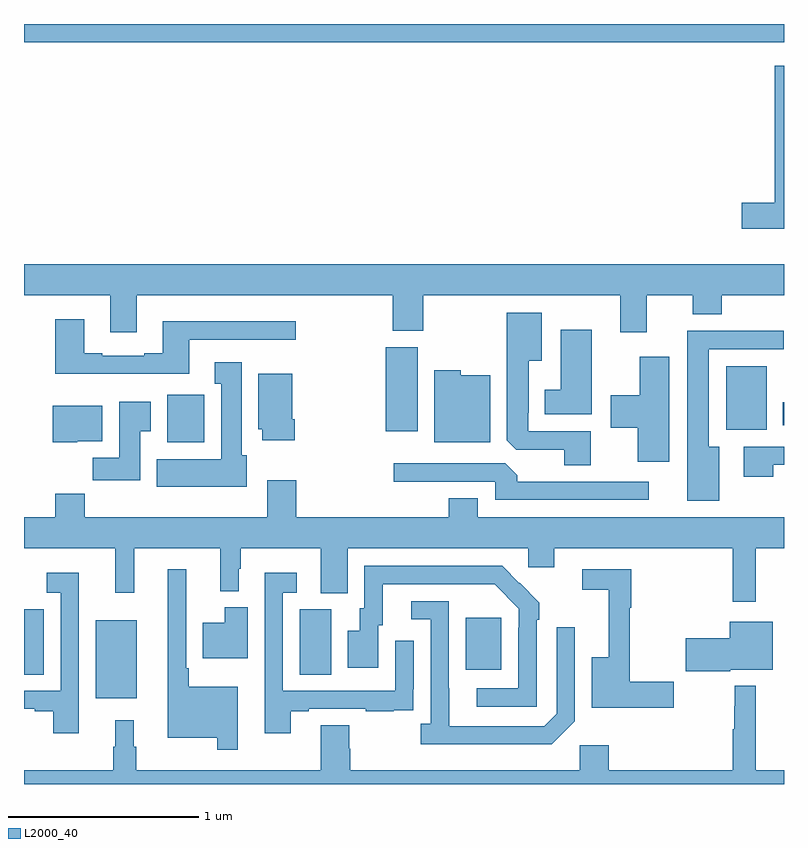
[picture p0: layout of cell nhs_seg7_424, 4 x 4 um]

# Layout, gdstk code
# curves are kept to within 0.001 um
import gdstk
lib = gdstk.Library(unit=1e-6, precision=1e-09)
def R(c, l, rs):  # rectangles x0, y0, x1, y1
    for r in rs: c.add(gdstk.rectangle(r[:2], r[2:], *l))
def P(c, l, *ps):  # polygons
    for p in ps: c.add(gdstk.Polygon(p, *l))
L2000_40 = (2000, 40)

nhs_seg7_424 = lib.new_cell('nhs_seg7_424')
R(nhs_seg7_424, L2000_40, [(143.378,1042.451,143.593,1042.861), (143,1042.576,143.104,1042.92), (144.452,1042.576,144.616,1042.92), (145.325,1042.601,145.513,1042.876), (143.753,1043.798,143.949,1044.049), (144.905,1043.856,145.072,1044.3), (146.696,1043.864,146.908,1044.199), (146.993,1043.888,147,1044.01), (143,1045.904,147,1046)])
P(nhs_seg7_424, L2000_40, [(147,1045.78),(146.95,1045.78),(146.95,1045.058),(146.778,1045.058),(146.778,1044.923),(147,1044.923)],
  [(143,1044.572),(143.453,1044.572),(143.453,1044.378),(143.593,1044.378),(143.593,1044.572),(144.941,1044.572),(144.941,1044.385),(145.101,1044.385),(145.101,1044.572),(146.138,1044.572),(146.138,1044.378),(146.278,1044.378),(146.278,1044.572),(146.519,1044.572),(146.519,1044.473),(146.672,1044.473),(146.672,1044.572),(147,1044.572),(147,1044.736),(143,1044.736)],
  [(145.984,1043.856),(145.653,1043.856),(145.653,1043.953),(145.657,1043.953),(145.657,1044.227),(145.726,1044.227),(145.726,1044.481),(145.541,1044.481),(145.541,1043.809),(145.59,1043.76),(145.844,1043.76),(145.844,1043.677),(145.984,1043.677)],
  [(143.869,1044.339),(144.43,1044.339),(144.43,1044.436),(143.729,1044.436),(143.729,1044.268),(143.633,1044.268),(143.633,1044.255),(143.413,1044.255),(143.413,1044.268),(143.317,1044.268),(143.317,1044.445),(143.165,1044.445),(143.165,1044.158),(143.869,1044.158)],
  [(145.987,1044.391),(145.826,1044.391),(145.826,1044.076),(145.742,1044.076),(145.742,1043.945),(145.987,1043.945)],
  [(146.659,1043.776),(146.605,1043.776),(146.605,1044.288),(146.998,1044.288),(146.998,1044.386),(146.492,1044.386),(146.492,1043.49),(146.659,1043.49)],
  [(146.395,1044.25),(146.24,1044.25),(146.24,1044.045),(146.088,1044.045),(146.088,1043.876),(146.231,1043.876),(146.231,1043.697),(146.395,1043.697)],
  [(144.172,1043.73),(144.145,1043.73),(144.145,1044.22),(144.005,1044.22),(144.005,1044.107),(144.038,1044.107),(144.038,1043.71),(143.699,1043.71),(143.699,1043.564),(144.172,1043.564)],
  [(145.453,1044.151),(145.299,1044.151),(145.299,1044.178),(145.16,1044.178),(145.16,1043.798),(145.453,1043.798)],
  [(144.425,1043.92),(144.412,1043.92),(144.412,1044.16),(144.233,1044.16),(144.233,1043.868),(144.254,1043.868),(144.254,1043.808),(144.425,1043.808)],
  [(143.611,1043.857),(143.668,1043.857),(143.668,1044.013),(143.501,1044.013),(143.501,1043.716),(143.362,1043.716),(143.362,1043.598),(143.611,1043.598)],
  [(143.28,1043.804),(143.413,1043.804),(143.413,1043.992),(143.15,1043.992),(143.15,1043.798),(143.28,1043.798)],
  [(146.943,1043.679),(147,1043.679),(147,1043.775),(146.787,1043.775),(146.787,1043.616),(146.943,1043.616)],
  [(146.287,1043.592),(145.595,1043.592),(145.595,1043.626),(145.533,1043.688),(144.945,1043.688),(144.945,1043.592),(145.479,1043.592),(145.479,1043.496),(146.287,1043.496)],
  [(146.851,1043.24),(147,1043.24),(147,1043.404),(145.387,1043.404),(145.387,1043.503),(145.235,1043.503),(145.235,1043.404),(144.434,1043.404),(144.434,1043.599),(144.281,1043.599),(144.281,1043.404),(143.321,1043.404),(143.321,1043.528),(143.165,1043.528),(143.165,1043.404),(143,1043.404),(143,1043.24),(143.48,1043.24),(143.48,1043.007),(143.579,1043.007),(143.579,1043.24),(144.032,1043.24),(144.032,1043.015),(144.13,1043.015),(144.13,1043.133),(144.142,1043.133),(144.142,1043.24),(144.563,1043.24),(144.563,1043.005),(144.703,1043.005),(144.703,1043.24),(145.653,1043.24),(145.653,1043.142),(145.792,1043.142),(145.792,1043.24),(146.73,1043.24),(146.73,1042.959),(146.851,1042.959)],
  [(145.698,1042.865),(145.713,1042.865),(145.713,1042.953),(145.516,1043.148),(144.792,1043.148),(144.792,1042.926),(144.767,1042.926),(144.767,1042.807),(144.704,1042.807),(144.704,1042.611),(144.865,1042.611),(144.865,1042.836),(144.889,1042.836),(144.889,1043.052),(145.477,1043.052),(145.605,1042.923),(145.605,1042.823),(145.602,1042.823),(145.602,1042.503),(145.383,1042.503),(145.383,1042.407),(145.698,1042.407)],
  [(144.126,1042.513),(143.866,1042.513),(143.866,1042.609),(143.853,1042.609),(143.853,1043.131),(143.756,1043.131),(143.756,1042.244),(144.018,1042.244),(144.018,1042.179),(144.126,1042.179)],
  [(146.419,1042.539),(146.188,1042.539),(146.188,1042.927),(146.195,1042.927),(146.195,1043.13),(145.938,1043.13),(145.938,1043.022),(146.078,1043.022),(146.078,1042.666),(145.988,1042.666),(145.988,1042.402),(146.419,1042.402)],
  [(143.289,1043.113),(143.121,1043.113),(143.121,1043.007),(143.193,1043.007),(143.193,1042.491),(143,1042.491),(143,1042.395),(143.057,1042.395),(143.057,1042.382),(143.153,1042.382),(143.153,1042.266),(143.289,1042.266)],
  [(144.403,1042.382),(144.499,1042.382),(144.499,1042.395),(144.799,1042.395),(144.799,1042.382),(144.947,1042.382),(144.947,1042.389),(145.049,1042.389),(145.049,1042.498),(145.05,1042.498),(145.05,1042.753),(144.954,1042.753),(144.954,1042.491),(144.363,1042.491),(144.363,1043.007),(144.436,1043.007),(144.436,1043.113),(144.267,1043.113),(144.267,1042.488),(144.266,1042.488),(144.266,1042.266),(144.403,1042.266)],
  [(145.899,1042.329),(145.899,1042.825),(145.803,1042.825),(145.803,1042.371),(145.737,1042.305),(145.237,1042.305),(145.236,1042.962),(145.038,1042.962),(145.038,1042.866),(145.14,1042.866),(145.14,1042.318),(145.089,1042.318),(145.089,1042.208),(145.778,1042.208)],
  [(144.178,1042.93),(144.056,1042.93),(144.056,1042.849),(143.942,1042.849),(143.942,1042.661),(144.178,1042.661)],
  [(146.718,1042.601),(146.941,1042.601),(146.941,1042.855),(146.714,1042.855),(146.714,1042.767),(146.484,1042.767),(146.484,1042.594),(146.718,1042.594)],
  [(147,1042.072),(146.851,1042.072),(146.851,1042.516),(146.741,1042.516),(146.741,1042.409),(146.737,1042.409),(146.737,1042.289),(146.73,1042.289),(146.73,1042.072),(146.078,1042.072),(146.078,1042.204),(145.926,1042.204),(145.926,1042.072),(144.716,1042.072),(144.716,1042.185),(144.711,1042.185),(144.711,1042.31),(144.563,1042.31),(144.563,1042.072),(143.59,1042.072),(143.59,1042.196),(143.578,1042.196),(143.578,1042.336),(143.48,1042.336),(143.48,1042.196),(143.469,1042.196),(143.469,1042.072),(143,1042.072),(143,1042),(147,1042)])

lib.write_gds('nhs_seg7_424.gds')
